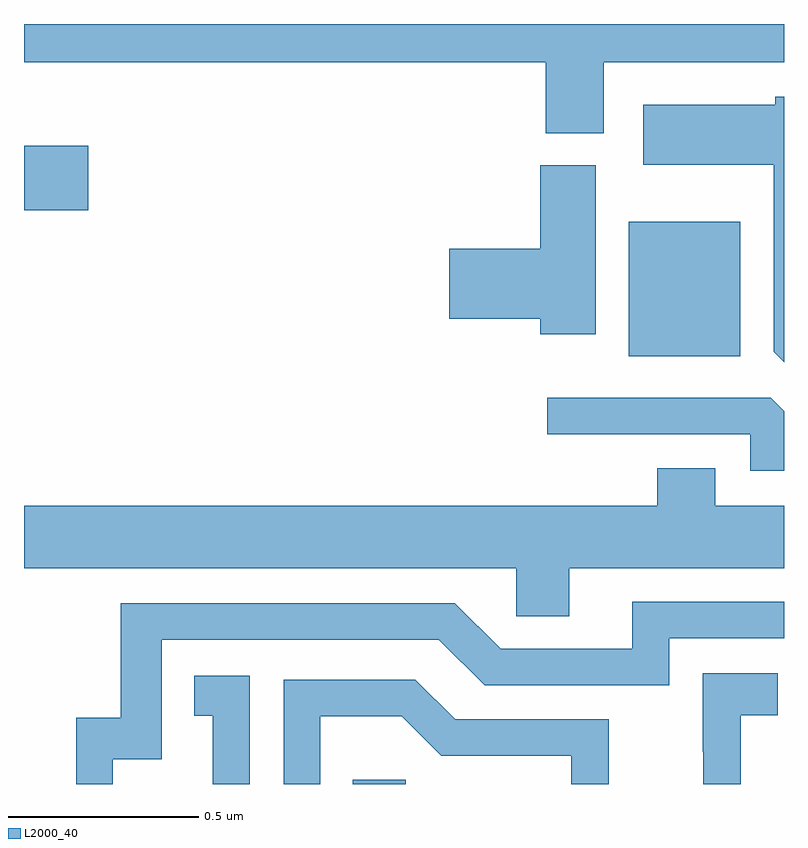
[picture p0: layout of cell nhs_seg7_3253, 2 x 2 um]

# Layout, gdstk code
import gdstk
lib = gdstk.Library(unit=1e-6, precision=1e-09)
def R(c, l, rs):  # rectangles x0, y0, x1, y1
    for r in rs: c.add(gdstk.rectangle(r[:2], r[2:], *l))
def P(c, l, *ps):  # polygons
    for p in ps: c.add(gdstk.Polygon(p, *l))
L2000_40 = (2000, 40)

nhs_seg7_3253 = lib.new_cell('nhs_seg7_3253')
R(nhs_seg7_3253, L2000_40, [(156.865,1048,157.005,1048.011), (157.592,1049.126,157.885,1049.479), (156,1049.51,156.169,1049.68)])
P(nhs_seg7_3253, L2000_40, [(157.525,1049.9),(158,1049.9),(158,1050),(156,1050),(156,1049.9),(157.373,1049.9),(157.373,1049.713),(157.525,1049.713)],
  [(158,1049.809),(157.977,1049.809),(157.977,1049.788),(157.629,1049.788),(157.629,1049.63),(157.973,1049.63),(157.973,1049.137),(158,1049.11)],
  [(157.504,1049.628),(157.358,1049.628),(157.358,1049.408),(157.119,1049.408),(157.119,1049.225),(157.358,1049.225),(157.358,1049.184),(157.504,1049.184)],
  [(158,1048.981),(157.965,1049.016),(157.377,1049.016),(157.377,1048.92),(157.911,1048.92),(157.911,1048.824),(158,1048.824)],
  [(157.435,1048.568),(158,1048.568),(158,1048.732),(157.819,1048.732),(157.819,1048.831),(157.667,1048.831),(157.667,1048.732),(156,1048.732),(156,1048.568),(157.296,1048.568),(157.296,1048.441),(157.435,1048.441)],
  [(156.234,1048.065),(156.363,1048.065),(156.363,1048.38),(157.092,1048.38),(157.212,1048.26),(157.698,1048.26),(157.698,1048.383),(158,1048.383),(158,1048.479),(157.601,1048.479),(157.601,1048.356),(157.254,1048.356),(157.134,1048.476),(156.255,1048.476),(156.255,1048.174),(156.137,1048.174),(156.137,1048),(156.234,1048)],
  [(157.886,1048.181),(157.984,1048.181),(157.984,1048.291),(157.786,1048.291),(157.786,1048.085),(157.787,1048.085),(157.787,1048),(157.886,1048)],
  [(156.594,1048.285),(156.448,1048.285),(156.448,1048.179),(156.497,1048.179),(156.497,1048),(156.594,1048)],
  [(156.78,1048.178),(156.994,1048.178),(157.098,1048.074),(157.44,1048.074),(157.44,1048),(157.539,1048),(157.539,1048.17),(157.135,1048.17),(157.03,1048.275),(156.684,1048.275),(156.684,1048),(156.78,1048)])

lib.write_gds('nhs_seg7_3253.gds')
